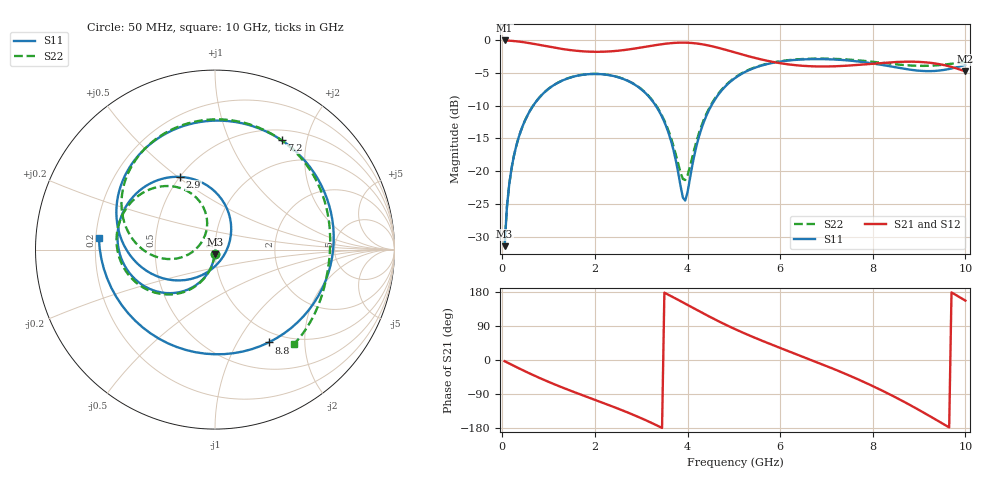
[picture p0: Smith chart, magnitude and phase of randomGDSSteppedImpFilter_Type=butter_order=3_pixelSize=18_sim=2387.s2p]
! freq	dB(S11)	phase(S11)	dB(S12)	phase(S12)
!  dB(S21)	phase(S21)	dB(S22)	phase(S22)
!S-par simulation data
#  GHz  S  DB  R 50
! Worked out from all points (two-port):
!   200 points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, 50 MHz to 10 GHz, reference 50 ohm
!   highest |S21| = -0.01 dB at 50 MHz (marker M1); lowest = -4.7 dB at 10 GHz (marker M2)
!   |S21| within 3 dB of the highest: start of sweep to 5.651 GHz
!   lowest |S11| = -31.5 dB at 50 MHz (marker M3), VSWR 1.05, Z = 49.8 - j2.65 ohm
!   |S11| at or under -10 dB: start of sweep to 665.4 MHz; 3.315 GHz to 4.512 GHz (1.197 GHz wide, 30.6 % of centre)
!   |S22| runs from -31.5 to -2.8 dB; largest |S21 - S12| = 0
!   S11 on the Smith chart (normalised r, x): 50 MHz: 1.00, -0.05; 2.9 GHz: 0.50, +0.51; 7.2 GHz: 0.64, +1.59; 8.8 GHz: 0.85, -1.36; 10 GHz: 0.21, +0.05
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0.05  -31.47 -93.3  -0.01 -3.1  -0.01 -3.1  -31.47 -93.1
0.1  -25.48 -96.6  -0.02 -6.2  -0.02 -6.2  -25.48 -96.4
0.2  -19.57 -103.0  -0.07 -12.4  -0.07 -12.4  -19.57 -102.6
0.5  -12.10 -121.3  -0.32 -30.3  -0.32 -30.3  -12.10 -120.3
1.05  -7.13 -152.0  -1.02 -60.3  -1.02 -60.3  -7.13 -149.7
1.75  -5.24 173.5  -1.67 -93.8  -1.67 -93.8  -5.24 178.0
2.3  -5.30 147.2  -1.69 -118.9  -1.69 -118.9  -5.29 154.4
2.9  -6.95 115.6  -1.20 -148.3  -1.20 -148.3  -6.91 128.3
3.4  -11.00 82.2  -0.63 -176.3  -0.63 -176.3  -10.87 108.0
3.65  -15.53 57.8  -0.42 168.2  -0.42 168.2  -15.08 104.8
3.95  -24.50 -38.4  -0.34 148.7  -0.34 148.7  -21.36 153.5
4.4  -11.63 -139.0  -0.70 119.2  -0.70 119.2  -11.35 -168.8
5.05  -5.64 174.2  -1.89 80.1  -1.89 80.1  -5.56 163.3
5.75  -3.57 135.2  -3.16 43.9  -3.16 43.9  -3.52 131.6
6.7  -2.86 86.2  -3.96 -1.4  -3.96 -1.4  -2.79 91.4
7.2  -2.93 58.7  -3.95 -25.9  -3.95 -25.9  -2.83 70.4
7.85  -3.37 17.8  -3.65 -60.3  -3.65 -60.3  -3.16 43.0
8.35  -3.94 -19.8  -3.37 -89.7  -3.37 -89.7  -3.54 22.1
8.8  -4.47 -60.0  -3.25 -118.5  -3.25 -118.5  -3.83 3.8
9.35  -4.67 -116.8  -3.53 -156.4  -3.53 -156.4  -3.83 -18.8
9.7  -4.29 -154.5  -4.06 178.4  -4.06 178.4  -3.57 -34.7
10  -3.74 174.3  -4.75 156.7  -4.75 156.7  -3.27 -49.9
